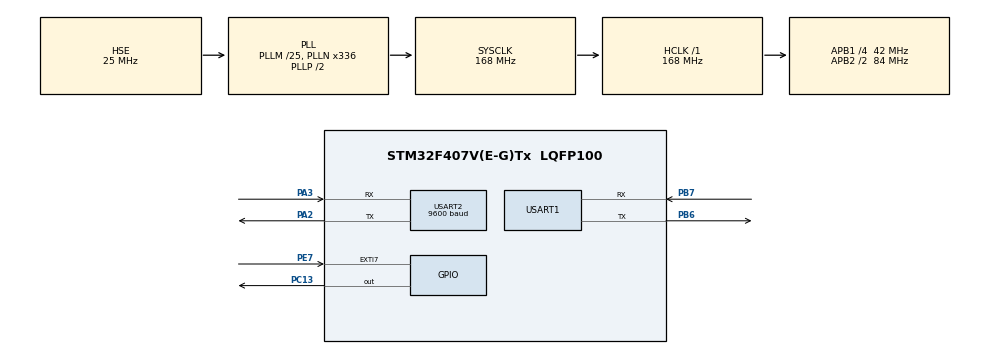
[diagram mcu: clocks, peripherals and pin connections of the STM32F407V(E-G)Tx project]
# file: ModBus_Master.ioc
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Mcu.Family=STM32F4
Mcu.Name=STM32F407V(E-G)Tx
Mcu.Package=LQFP100
NVIC.EXTI9_5_IRQn=true\:0\:0\:false\:false\:true\:true\:true\:true
NVIC.PriorityGroup=NVIC_PRIORITYGROUP_4
NVIC.USART1_IRQn=true\:0\:0\:false\:false\:true\:true\:true\:true
NVIC.USART2_IRQn=true\:0\:0\:false\:false\:true\:true\:true\:true
PA13.Mode=JTAG_4_pins
PA13.Signal=SYS_JTMS-SWDIO
PA14.Mode=JTAG_4_pins
PA14.Signal=SYS_JTCK-SWCLK
PA15.Mode=JTAG_4_pins
PA15.Signal=SYS_JTDI
PA2.Mode=Asynchronous
PA2.Signal=USART2_TX
PA3.Mode=Asynchronous
PA3.Signal=USART2_RX
PB3.Mode=JTAG_4_pins
PB3.Signal=SYS_JTDO-SWO
PB6.Mode=Asynchronous
PB6.Signal=USART1_TX
PB7.Mode=Asynchronous
PB7.Signal=USART1_RX
PC13-ANTI_TAMP.Signal=GPIO_Output
PE7.GPIO_ModeDefaultEXTI=GPIO_MODE_IT_RISING_FALLING
PE7.Signal=GPXTI7
PH0-OSC_IN.Mode=HSE-External-Oscillator
PH0-OSC_IN.Signal=RCC_OSC_IN
PH1-OSC_OUT.Mode=HSE-External-Oscillator
PH1-OSC_OUT.Signal=RCC_OSC_OUT
ProjectManager.HeapSize=0x200
ProjectManager.StackSize=0x400
ProjectManager.TargetToolchain=STM32CubeIDE
RCC.48MHZClocksFreq_Value=84000000
RCC.AHBFreq_Value=168000000
RCC.APB1CLKDivider=RCC_HCLK_DIV4
RCC.APB1Freq_Value=42000000
RCC.APB1TimFreq_Value=84000000
RCC.APB2CLKDivider=RCC_HCLK_DIV2
RCC.APB2Freq_Value=84000000
RCC.APB2TimFreq_Value=168000000
RCC.CortexFreq_Value=168000000
RCC.HCLKFreq_Value=168000000
RCC.HSE_VALUE=25000000
RCC.HSI_VALUE=16000000
RCC.LSE_VALUE=32768
RCC.PLLM=25
RCC.PLLN=336
RCC.PLLSourceVirtual=RCC_PLLSOURCE_HSE
RCC.SYSCLKFreq_VALUE=168000000
RCC.SYSCLKSource=RCC_SYSCLKSOURCE_PLLCLK
RCC.VCOOutputFreq_Value=336000000
USART1.VirtualMode=VM_ASYNC
USART2.BaudRate=9600
USART2.VirtualMode=VM_ASYNC
board=custom

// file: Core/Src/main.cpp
/* USER CODE BEGIN Header */
/**
  ******************************************************************************
  * @file           : main.c
  * @brief          : Main program body
  ******************************************************************************
  * @attention
  *
  * Copyright (c) 2022 STMicroelectronics.
  * All rights reserved.
  *
  * This software is licensed under terms that can be found in the LICENSE file
  * in the root directory of this software component.
  * If no LICENSE file comes with this software, it is provided AS-IS.
  *
  ******************************************************************************
  */
/* USER CODE END Header */
#include "main.h"

/* USER CODE BEGIN Includes */
#include "stdio.h"
#include "stdlib.h"
#include "stdarg.h"
#include "string.h"

#include "STM_LOG.h"
#include "modbus.h"
/* USER CODE END Includes */

/* USER CODE BEGIN PD */
#define PT100_ADDR  		0x02
#define PT100_TEMP_REG  	0x00
#define PT100_RES_REG   	0x01
#define PT100_ADDR_REG 		0x02
#define PT100_BAUD_REG 		0x03

#define SHT_ADDR            0x01
#define SHT_TEMP_REG        0x0001
#define SHT_HUMI_REG        0x0002
#define SHT_ADDR_REG        0x0101
#define SHT_BAUD_REG        0x0102

#define RELAY_ADDR          0x01
#define RELAY_1_REG         0x00
#define RELAY_2_REG         0x01
#define RELAY_ON            0xFF00
#define RELAY_OFF           0x0000

/* USER CODE END PD */

UART_HandleTypeDef huart1;
UART_HandleTypeDef huart2;

/* USER CODE BEGIN PV */
modbus mb_master(&huart2);
/* USER CODE END PV */

void SystemClock_Config(void);
static void MX_GPIO_Init(void);
static void MX_USART1_UART_Init(void);
static void MX_USART2_UART_Init(void);

/* USER CODE BEGIN 0 */
const char *TAG = "Modbus";

uint8_t *RxData;

void STM_LOG_Set(char *buf);

float PT100_ReadTemperature(void);
float PT100_ReadResistance(void);
uint32_t Pt100_ReadBaudRate(void);
uint8_t PT100_ReadAddress(void);
void PT100_SetBaud(uint32_t NewBaud);
void PT100_SetAddress(uint8_t NewAddr);

float SHT_ReadTemperature(void);
float SHT_ReadHumidity(void);

void Write_Relay(uint8_t relay, uint16_t dt);
/* USER CODE END 0 */

int main(void)
{

  /* MCU Configuration--------------------------------------------------------*/

  /* Reset of all peripherals, Initializes the Flash interface and the Systick. */
  HAL_Init();

  /* Configure the system clock */
  SystemClock_Config();

  /* Initialize all configured peripherals */
  MX_GPIO_Init();
  MX_USART1_UART_Init();
  MX_USART2_UART_Init();
  /* USER CODE BEGIN 2 */
  STM_LOG_Init(STM_LOG_Set);
  STM_LOG(BOLD_GREEN, TAG, "LOG OKE. ");
  /* USER CODE END 2 */

  /* Infinite loop */
  while (1)
  {

    /* USER CODE BEGIN 3 */
//		SHT_ReadTemperature();
//		HAL_Delay(100);
//		SHT_ReadHumidity();
//		HAL_Delay(100);
		PT100_ReadTemperature();
		HAL_Delay(100);
		PT100_ReadResistance();
		HAL_Delay(1000);

	    Write_Relay(RELAY_1_REG, RELAY_ON);
	    HAL_Delay(100);
	    Write_Relay(RELAY_2_REG, RELAY_OFF);
	    HAL_Delay(100);

	    Write_Relay(RELAY_2_REG, RELAY_ON);
	    HAL_Delay(100);
	    Write_Relay(RELAY_1_REG, RELAY_OFF);
	    HAL_Delay(100);

  }
  /* USER CODE END 3 */
}

void SystemClock_Config(void)
{
  RCC_OscInitTypeDef RCC_OscInitStruct = {0};
  RCC_ClkInitTypeDef RCC_ClkInitStruct = {0};

  /** Configure the main internal regulator output voltage
  */
  __HAL_RCC_PWR_CLK_ENABLE();
  __HAL_PWR_VOLTAGESCALING_CONFIG(PWR_REGULATOR_VOLTAGE_SCALE1);

  /** Initializes the RCC Oscillators according to the specified parameters
  * in the RCC_OscInitTypeDef structure.
  */
  RCC_OscInitStruct.OscillatorType = RCC_OSCILLATORTYPE_HSE;
  RCC_OscInitStruct.HSEState = RCC_HSE_ON;
  RCC_OscInitStruct.PLL.PLLState = RCC_PLL_ON;
  RCC_OscInitStruct.PLL.PLLSource = RCC_PLLSOURCE_HSE;
  RCC_OscInitStruct.PLL.PLLM = 25;
  RCC_OscInitStruct.PLL.PLLN = 336;
  RCC_OscInitStruct.PLL.PLLP = RCC_PLLP_DIV2;
  RCC_OscInitStruct.PLL.PLLQ = 4;
  if (HAL_RCC_OscConfig(&RCC_OscInitStruct) != HAL_OK)
  {
    Error_Handler();
  }

  /** Initializes the CPU, AHB and APB buses clocks
  */
  RCC_ClkInitStruct.ClockType = RCC_CLOCKTYPE_HCLK|RCC_CLOCKTYPE_SYSCLK
                              |RCC_CLOCKTYPE_PCLK1|RCC_CLOCKTYPE_PCLK2;
  RCC_ClkInitStruct.SYSCLKSource = RCC_SYSCLKSOURCE_PLLCLK;
  RCC_ClkInitStruct.AHBCLKDivider = RCC_SYSCLK_DIV1;
  RCC_ClkInitStruct.APB1CLKDivider = RCC_HCLK_DIV4;
  RCC_ClkInitStruct.APB2CLKDivider = RCC_HCLK_DIV2;

  if (HAL_RCC_ClockConfig(&RCC_ClkInitStruct, FLASH_LATENCY_5) != HAL_OK)
  {
    Error_Handler();
  }
}

static void MX_USART1_UART_Init(void)
{

  huart1.Instance = USART1;
  huart1.Init.BaudRate = 115200;
  huart1.Init.WordLength = UART_WORDLENGTH_8B;
  huart1.Init.StopBits = UART_STOPBITS_1;
  huart1.Init.Parity = UART_PARITY_NONE;
  huart1.Init.Mode = UART_MODE_TX_RX;
  huart1.Init.HwFlowCtl = UART_HWCONTROL_NONE;
  huart1.Init.OverSampling = UART_OVERSAMPLING_16;
  if (HAL_UART_Init(&huart1) != HAL_OK)
  {
    Error_Handler();
  }

}

static void MX_USART2_UART_Init(void)
{

  huart2.Instance = USART2;
  huart2.Init.BaudRate = 9600;
  huart2.Init.WordLength = UART_WORDLENGTH_8B;
  huart2.Init.StopBits = UART_STOPBITS_1;
  huart2.Init.Parity = UART_PARITY_NONE;
  huart2.Init.Mode = UART_MODE_TX_RX;
  huart2.Init.HwFlowCtl = UART_HWCONTROL_NONE;
  huart2.Init.OverSampling = UART_OVERSAMPLING_16;
  if (HAL_UART_Init(&huart2) != HAL_OK)
  {
    Error_Handler();
  }

}

static void MX_GPIO_Init(void)
{
  GPIO_InitTypeDef GPIO_InitStruct = {0};

  /* GPIO Ports Clock Enable */
  __HAL_RCC_GPIOC_CLK_ENABLE();
  __HAL_RCC_GPIOH_CLK_ENABLE();
  __HAL_RCC_GPIOA_CLK_ENABLE();
  __HAL_RCC_GPIOE_CLK_ENABLE();
  __HAL_RCC_GPIOB_CLK_ENABLE();

  /*Configure GPIO pin Output Level */
  HAL_GPIO_WritePin(GPIOC, GPIO_PIN_13, GPIO_PIN_RESET);

  /*Configure GPIO pin : PC13 */
  GPIO_InitStruct.Pin = GPIO_PIN_13;
  GPIO_InitStruct.Mode = GPIO_MODE_OUTPUT_PP;
  GPIO_InitStruct.Pull = GPIO_NOPULL;
  GPIO_InitStruct.Speed = GPIO_SPEED_FREQ_LOW;
  HAL_GPIO_Init(GPIOC, &GPIO_InitStruct);

  /*Configure GPIO pin : PE7 */
  GPIO_InitStruct.Pin = GPIO_PIN_7;
  GPIO_InitStruct.Mode = GPIO_MODE_IT_RISING_FALLING;
  GPIO_InitStruct.Pull = GPIO_NOPULL;
  HAL_GPIO_Init(GPIOE, &GPIO_InitStruct);

  /* EXTI interrupt init*/
  HAL_NVIC_SetPriority(EXTI9_5_IRQn, 0, 0);
  HAL_NVIC_EnableIRQ(EXTI9_5_IRQn);

}

/* USER CODE BEGIN 4 */
void STM_LOG_Set(char *buf){
	HAL_UART_Transmit(&huart1, (uint8_t *)buf, strlen(buf), 1000);
}

void HAL_UARTEx_RxEventCallback(UART_HandleTypeDef *huart, uint16_t Size){
	mb_master.response_handler(huart);

}

float PT100_ReadTemperature(void){
	mb_master.send_request(PT100_ADDR, READ_HOLDING_REGISTERS, PT100_TEMP_REG, 0x01, true);

//	bool resp = mb_master.wait_for_response(1000);
//	if(resp == false) STM_LOG(SIMP_RED, TAG, "Fail to read temperature.");
	HAL_Delay(100);

	mb_master.get_response_datas(&RxData);
	float tmp = (float)((uint16_t)((RxData[3] << 8) | RxData[4]) / 10.0);
	STM_LOG(SIMP_RED, TAG, "PT100 Temperature = %f", tmp);

	return tmp;
}

float PT100_ReadResistance(void){
	mb_master.send_request(PT100_ADDR, READ_HOLDING_REGISTERS, PT100_RES_REG, 0x01, true);

	HAL_Delay(100);
//	bool resp = mb_master.wait_for_response(1000);
//	if(resp == false) STM_LOG(SIMP_RED, TAG, "Fail to read temperature.");

	mb_master.get_response_datas(&RxData);
	float res = (float)((uint16_t)((RxData[3] << 8) | RxData[4]) / 10.0);
	STM_LOG(SIMP_GREEN, TAG, "PT100 Resistance = %f", res);

	return res;
}
/*
uint32_t Pt100_ReadBaudRate(void){
	ModBus_Transmit(PT100_ADDR, PT100_FUNC_READ, PT100_BAUD_REG, 0x01);

	while(RxFlag == 0) HAL_Delay(1);
	RxFlag = 0;

	uint32_t Baud = 1200U << RxData[4];
	STM_LOG(SIMP_WHITE, TAG, TAG, "PT100 Current Baudrate: %d. ", Baud);
	return Baud;
}

uint8_t PT100_ReadAddress(void){
	ModBus_Transmit(PT100_ADDR, PT100_FUNC_READ, PT100_ADDR_REG, 0x01);

	while(RxFlag == 0) HAL_Delay(1);
	RxFlag = 0;

	uint8_t Addr = RxData[4];
	STM_LOG(SIMP_WHITE, TAG, TAG, "PT100 Current Address: 0x%02x. ", Addr);
	return Addr;
}

void PT100_SetBaud(uint32_t NewBaud){

}

void PT100_SetAddress(uint8_t NewAddr){

}
*/

float SHT_ReadTemperature(void){
	mb_master.send_request(SHT_ADDR, READ_INPUT_REGISTERS, SHT_TEMP_REG, 1, true);

	bool resp = mb_master.wait_for_response(1000);
	if(resp == false) STM_LOG(SIMP_RED, TAG, "Fail to read temperature.");

	mb_master.get_response_datas(&RxData);
	float tmp = (float)((uint16_t)((RxData[3] << 8) | RxData[4]) / 100.0);
	STM_LOG(SIMP_YELLOW, TAG, "SHT20 Temperature = %.2f", tmp);

	return tmp;
}

float SHT_ReadHumidity(void){
	mb_master.send_request(SHT_ADDR, READ_INPUT_REGISTERS, SHT_HUMI_REG, 1, true);

	bool resp = mb_master.wait_for_response(1000);
	if(resp == false) STM_LOG(SIMP_RED, TAG, "Fail to read humidity.");

	mb_master.get_response_datas(&RxData);
	float tmp = (float)((uint16_t)((RxData[3] << 8) | RxData[4]) / 100.0);
	STM_LOG(SIMP_CYAN, TAG, "SHT20 Humidity = %.2f", tmp);

	return tmp;
}

void Write_Relay(uint8_t relay, uint16_t dt){
	mb_master.send_request(RELAY_ADDR, WRITE_SINGLE_COIL, relay, dt, false);
}
/* USER CODE END 4 */

void Error_Handler(void)
{
  __disable_irq();
  while (1)
  {
  }
}
